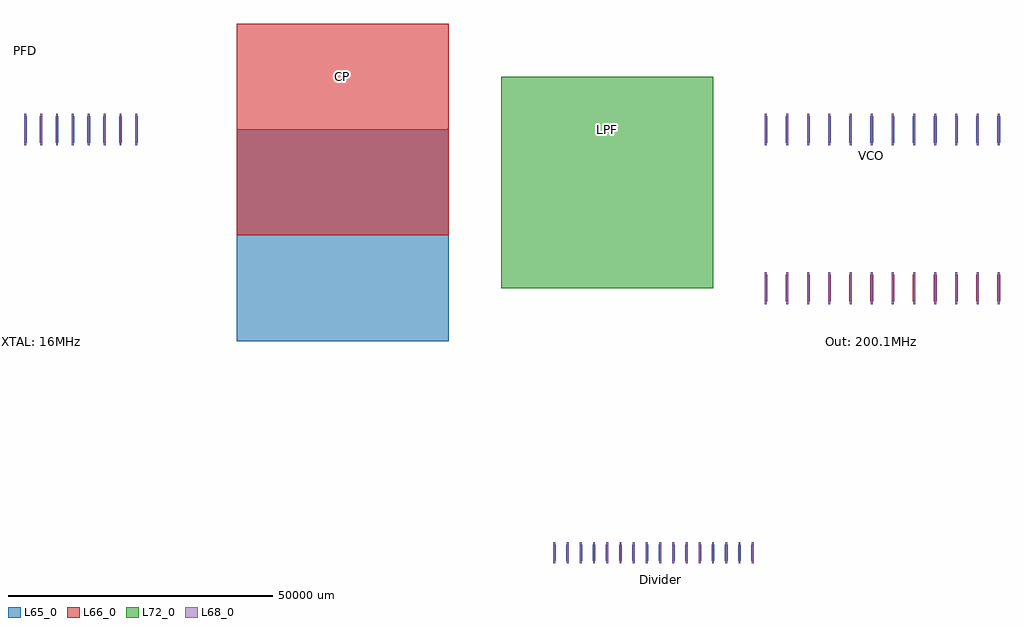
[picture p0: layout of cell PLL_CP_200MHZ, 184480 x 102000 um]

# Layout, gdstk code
import gdstk
lib = gdstk.Library(unit=1e-6, precision=1e-09)
def R(c, l, rs):  # rectangles x0, y0, x1, y1
    for r in rs: c.add(gdstk.rectangle(r[:2], r[2:], *l))
def A(c, l, x, y, w, h, nx, ny, dx, dy):  # array of equal rectangles
    R(c, l, [(x+i*dx, y+j*dy, x+i*dx+w, y+j*dy+h) for i in range(nx) for j in range(ny)])
L65_0 = (65, 0)
L66_0 = (66, 0)
L68_0 = (68, 0)
L72_0 = (72, 0)

pll_cp_200mhz = lib.new_cell('PLL_CP_200MHZ')
A(pll_cp_200mhz, L65_0, 19760, -31500, 480, 3000, 16, 1, 2500, 0)
A(pll_cp_200mhz, L65_0, -80240, 47500, 480, 5000, 8, 1, 3000, 0)
A(pll_cp_200mhz, L65_0, 59760, 47500, 480, 5000, 12, 1, 4000, 0)
R(pll_cp_200mhz, L65_0, [(-40000,10000,0,50000)])
A(pll_cp_200mhz, L66_0, 59760, 17500, 480, 5000, 12, 1, 4000, 0)
R(pll_cp_200mhz, L66_0, [(-40000,30000,0,70000)])
A(pll_cp_200mhz, L68_0, 19820, -32000, 360, 4000, 16, 1, 2500, 0)
A(pll_cp_200mhz, L68_0, 59820, 17000, 360, 6000, 12, 2, 4000, 30000)
A(pll_cp_200mhz, L68_0, -80180, 47000, 360, 6000, 8, 1, 3000, 0)
R(pll_cp_200mhz, L72_0, [(10000,20000,50000,60000)])
pll_cp_200mhz.add(gdstk.Label('PLL: CP-PLL 200MHz (sky130)', (-90000,80000), layer=71, texttype=0))
pll_cp_200mhz.add(gdstk.Label('PFD', (-80000,65000), layer=71, texttype=0))
pll_cp_200mhz.add(gdstk.Label('CP', (-20000,60000), layer=71, texttype=0))
pll_cp_200mhz.add(gdstk.Label('LPF', (30000,50000), layer=71, texttype=0))
pll_cp_200mhz.add(gdstk.Label('VCO', (80000,45000), layer=71, texttype=0))
pll_cp_200mhz.add(gdstk.Label('Divider', (40000,-35000), layer=71, texttype=0))
pll_cp_200mhz.add(gdstk.Label('XTAL: 16MHz', (-80000,10000), layer=71, texttype=0))
pll_cp_200mhz.add(gdstk.Label('Out: 200.1MHz', (80000,10000), layer=71, texttype=0))

lib.write_gds('PLL_CP_200MHZ.gds')
